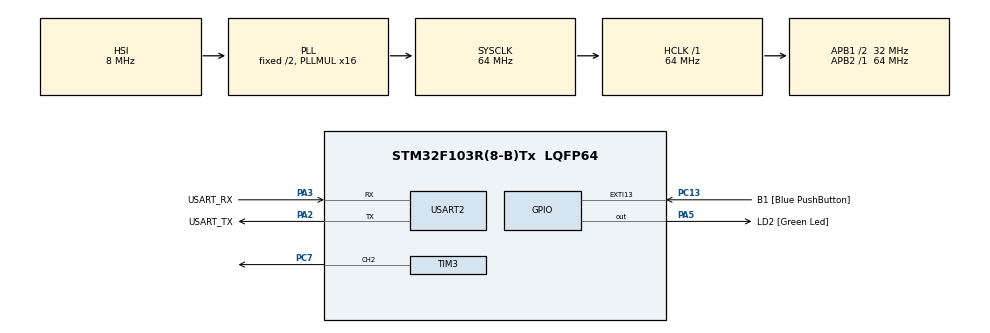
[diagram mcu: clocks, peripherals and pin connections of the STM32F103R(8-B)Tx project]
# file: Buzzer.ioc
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Mcu.Family=STM32F1
Mcu.Name=STM32F103R(8-B)Tx
Mcu.Package=LQFP64
NVIC.EXTI15_10_IRQn=true\:0\:0\:false\:false\:true\:true\:true\:true
NVIC.PriorityGroup=NVIC_PRIORITYGROUP_4
PA13.GPIO_Label=TMS
PA13.Mode=Serial_Wire
PA13.Signal=SYS_JTMS-SWDIO
PA14.GPIO_Label=TCK
PA14.Mode=Serial_Wire
PA14.Signal=SYS_JTCK-SWCLK
PA2.GPIO_Label=USART_TX
PA2.GPIO_Mode=GPIO_MODE_AF_PP
PA2.GPIO_PuPd=GPIO_NOPULL
PA2.GPIO_Speed=GPIO_SPEED_FREQ_LOW
PA2.Mode=Asynchronous
PA2.Signal=USART2_TX
PA3.GPIO_Label=USART_RX
PA3.GPIO_Mode=GPIO_MODE_AF_PP
PA3.GPIO_PuPd=GPIO_NOPULL
PA3.GPIO_Speed=GPIO_SPEED_FREQ_LOW
PA3.Mode=Asynchronous
PA3.Signal=USART2_RX
PA5.GPIO_Label=LD2 [Green Led]
PA5.GPIO_ModeDefaultOutputPP=GPIO_MODE_OUTPUT_PP
PA5.GPIO_PuPd=GPIO_NOPULL
PA5.GPIO_Speed=GPIO_SPEED_FREQ_LOW
PA5.Signal=GPIO_Output
PB3.GPIO_Label=SWO
PB3.Signal=SYS_JTDO-TRACESWO
PC13-TAMPER-RTC.GPIO_Label=B1 [Blue PushButton]
PC13-TAMPER-RTC.GPIO_PuPd=GPIO_NOPULL
PC13-TAMPER-RTC.Signal=GPXTI13
PC14-OSC32_IN.Signal=RCC_OSC32_IN
PC15-OSC32_OUT.Signal=RCC_OSC32_OUT
PC7.Signal=S_TIM3_CH2
PD0-OSC_IN.Signal=RCC_OSC_IN
PD1-OSC_OUT.Signal=RCC_OSC_OUT
ProjectManager.HeapSize=0x200
ProjectManager.StackSize=0x400
ProjectManager.TargetToolchain=STM32CubeIDE
RCC.AHBFreq_Value=64000000
RCC.APB1CLKDivider=RCC_HCLK_DIV2
RCC.APB1Freq_Value=32000000
RCC.APB1TimFreq_Value=64000000
RCC.APB2Freq_Value=64000000
RCC.APB2TimFreq_Value=64000000
RCC.HCLKFreq_Value=64000000
RCC.PLLMUL=RCC_PLL_MUL16
RCC.RTCClockSelection=RCC_RTCCLKSOURCE_LSE
RCC.SYSCLKFreq_VALUE=64000000
RCC.SYSCLKSource=RCC_SYSCLKSOURCE_PLLCLK
RCC.USBFreq_Value=64000000
SH.S_TIM3_CH2.0=TIM3_CH2,PWM Generation2 CH2
TIM3.Channel-PWM\ Generation2\ CH2=TIM_CHANNEL_2
TIM3.Prescaler=64-1
USART2.VirtualMode=VM_ASYNC
VP_TIM3_VS_ClockSourceINT.Mode=Internal
board=NUCLEO-F103RB

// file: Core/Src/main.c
/* USER CODE BEGIN Header */
/**
  ******************************************************************************
  * @file           : main.c
  * @brief          : Main program body
  ******************************************************************************
  * @attention
  *
  * Copyright (c) 2026 STMicroelectronics.
  * All rights reserved.
  *
  * This software is licensed under terms that can be found in the LICENSE file
  * in the root directory of this software component.
  * If no LICENSE file comes with this software, it is provided AS-IS.
  *
  ******************************************************************************
  */
/* USER CODE END Header */
#include "main.h"

TIM_HandleTypeDef htim3;

UART_HandleTypeDef huart2;

/* USER CODE BEGIN PV */
uint16_t note[8] = {262, 294, 330, 349, 392, 440, 494, 523};
char code[] = {'C','D','E','F','G','A','B','c'}; //char code[] = "CDEFGAB";' '
char school[] = "GGAAGGE GGEED GGAAGGE GEDEC";
/* USER CODE END PV */

void SystemClock_Config(void);
static void MX_GPIO_Init(void);
static void MX_TIM3_Init(void);
static void MX_USART2_UART_Init(void);
/* USER CODE BEGIN PFP */
unit8_t get_index(char ch);
/* USER CODE END PFP */

/* USER CODE BEGIN 0 */
 void Buzzer_Tone(uint16_t frequency, uint16_t duration)
{
    uint32_t period;

    if (frequency == 0)
    {
        HAL_TIM_PWM_Stop(&htim3, TIM_CHANNEL_2);
        HAL_Delay(duration);
        return;
    }

    /* TIM1 counter clock = 1 MHz */
    period = 1000000 / frequency;

    /* Set PWM frequency */
    __HAL_TIM_SET_AUTORELOAD(&htim3, period - 1);

    /* 50% duty cycle */
    __HAL_TIM_SET_COMPARE(&htim3, TIM_CHANNEL_2, period / 2);

    /* Reset counter */
    __HAL_TIM_SET_COUNTER(&htim3, 0);

    /* Start PWM */
    HAL_TIM_PWM_Start(&htim3, TIM_CHANNEL_2);

    HAL_Delay(duration);

    /* Stop sound */
    HAL_TIM_PWM_Stop(&htim3, TIM_CHANNEL_2);
}
/* USER CODE END 0 */

int main(void)
{

  /* MCU Configuration--------------------------------------------------------*/

  /* Reset of all peripherals, Initializes the Flash interface and the Systick. */
  HAL_Init();

  /* Configure the system clock */
  SystemClock_Config();

  /* Initialize all configured peripherals */
  MX_GPIO_Init();
  MX_TIM3_Init();
  MX_USART2_UART_Init();

  /* USER CODE BEGIN 2 */

  int i = 0;
  while(i < 8)
  {
	  Buzzer_Tone(note[i],500);HAL_Delay(100);
	  i = i +1;
  }
  /*
  Buzzer_Tone(note[0],500);HAL_Delay(100);
  Buzzer_Tone(note[1],500);HAL_Delay(100);
  Buzzer_Tone(note[2],500);HAL_Delay(100);
  Buzzer_Tone(note[3],500);HAL_Delay(100);
  Buzzer_Tone(note[4],500);HAL_Delay(100);
  Buzzer_Tone(note[5],500);HAL_Delay(100);
  Buzzer_Tone(note[6],500);HAL_Delay(100);
  Buzzer_Tone(note[7],500);HAL_Delay(100);
  */

  /*for (int i = 0; i < 8; i++)
  {
      Buzzer_Tone(note[i], 500);
      HAL_Delay(100);
  }*/
  for(int i = 0; i < sizeof(school); i++)
  {
	uint8_t temp = get_index(school[i]);
  Buzzer_Tone(note[i],500);
  }
    /* USER CODE END 2 */

  /* Infinite loop */
  while (1)
  {

  }
}

void SystemClock_Config(void)
{
  RCC_OscInitTypeDef RCC_OscInitStruct = {0};
  RCC_ClkInitTypeDef RCC_ClkInitStruct = {0};

  /** Initializes the RCC Oscillators according to the specified parameters
  * in the RCC_OscInitTypeDef structure.
  */
  RCC_OscInitStruct.OscillatorType = RCC_OSCILLATORTYPE_HSI;
  RCC_OscInitStruct.HSIState = RCC_HSI_ON;
  RCC_OscInitStruct.HSICalibrationValue = RCC_HSICALIBRATION_DEFAULT;
  RCC_OscInitStruct.PLL.PLLState = RCC_PLL_ON;
  RCC_OscInitStruct.PLL.PLLSource = RCC_PLLSOURCE_HSI_DIV2;
  RCC_OscInitStruct.PLL.PLLMUL = RCC_PLL_MUL16;
  if (HAL_RCC_OscConfig(&RCC_OscInitStruct) != HAL_OK)
  {
    Error_Handler();
  }

  /** Initializes the CPU, AHB and APB buses clocks
  */
  RCC_ClkInitStruct.ClockType = RCC_CLOCKTYPE_HCLK|RCC_CLOCKTYPE_SYSCLK
                              |RCC_CLOCKTYPE_PCLK1|RCC_CLOCKTYPE_PCLK2;
  RCC_ClkInitStruct.SYSCLKSource = RCC_SYSCLKSOURCE_PLLCLK;
  RCC_ClkInitStruct.AHBCLKDivider = RCC_SYSCLK_DIV1;
  RCC_ClkInitStruct.APB1CLKDivider = RCC_HCLK_DIV2;
  RCC_ClkInitStruct.APB2CLKDivider = RCC_HCLK_DIV1;

  if (HAL_RCC_ClockConfig(&RCC_ClkInitStruct, FLASH_LATENCY_2) != HAL_OK)
  {
    Error_Handler();
  }
}

static void MX_TIM3_Init(void)
{

  TIM_ClockConfigTypeDef sClockSourceConfig = {0};
  TIM_MasterConfigTypeDef sMasterConfig = {0};
  TIM_OC_InitTypeDef sConfigOC = {0};

  htim3.Instance = TIM3;
  htim3.Init.Prescaler = 64-1;
  htim3.Init.CounterMode = TIM_COUNTERMODE_UP;
  htim3.Init.Period = 65535;
  htim3.Init.ClockDivision = TIM_CLOCKDIVISION_DIV1;
  htim3.Init.AutoReloadPreload = TIM_AUTORELOAD_PRELOAD_DISABLE;
  if (HAL_TIM_Base_Init(&htim3) != HAL_OK)
  {
    Error_Handler();
  }
  sClockSourceConfig.ClockSource = TIM_CLOCKSOURCE_INTERNAL;
  if (HAL_TIM_ConfigClockSource(&htim3, &sClockSourceConfig) != HAL_OK)
  {
    Error_Handler();
  }
  if (HAL_TIM_PWM_Init(&htim3) != HAL_OK)
  {
    Error_Handler();
  }
  sMasterConfig.MasterOutputTrigger = TIM_TRGO_RESET;
  sMasterConfig.MasterSlaveMode = TIM_MASTERSLAVEMODE_DISABLE;
  if (HAL_TIMEx_MasterConfigSynchronization(&htim3, &sMasterConfig) != HAL_OK)
  {
    Error_Handler();
  }
  sConfigOC.OCMode = TIM_OCMODE_PWM1;
  sConfigOC.Pulse = 0;
  sConfigOC.OCPolarity = TIM_OCPOLARITY_HIGH;
  sConfigOC.OCFastMode = TIM_OCFAST_DISABLE;
  if (HAL_TIM_PWM_ConfigChannel(&htim3, &sConfigOC, TIM_CHANNEL_2) != HAL_OK)
  {
    Error_Handler();
  }
  HAL_TIM_MspPostInit(&htim3);

}

static void MX_USART2_UART_Init(void)
{

  huart2.Instance = USART2;
  huart2.Init.BaudRate = 115200;
  huart2.Init.WordLength = UART_WORDLENGTH_8B;
  huart2.Init.StopBits = UART_STOPBITS_1;
  huart2.Init.Parity = UART_PARITY_NONE;
  huart2.Init.Mode = UART_MODE_TX_RX;
  huart2.Init.HwFlowCtl = UART_HWCONTROL_NONE;
  huart2.Init.OverSampling = UART_OVERSAMPLING_16;
  if (HAL_UART_Init(&huart2) != HAL_OK)
  {
    Error_Handler();
  }

}

static void MX_GPIO_Init(void)
{
  GPIO_InitTypeDef GPIO_InitStruct = {0};

  /* GPIO Ports Clock Enable */
  __HAL_RCC_GPIOC_CLK_ENABLE();
  __HAL_RCC_GPIOD_CLK_ENABLE();
  __HAL_RCC_GPIOA_CLK_ENABLE();
  __HAL_RCC_GPIOB_CLK_ENABLE();

  /*Configure GPIO pin Output Level */
  HAL_GPIO_WritePin(LD2_GPIO_Port, LD2_Pin, GPIO_PIN_RESET);

  /*Configure GPIO pin : B1_Pin */
  GPIO_InitStruct.Pin = B1_Pin;
  GPIO_InitStruct.Mode = GPIO_MODE_IT_RISING;
  GPIO_InitStruct.Pull = GPIO_NOPULL;
  HAL_GPIO_Init(B1_GPIO_Port, &GPIO_InitStruct);

  /*Configure GPIO pin : LD2_Pin */
  GPIO_InitStruct.Pin = LD2_Pin;
  GPIO_InitStruct.Mode = GPIO_MODE_OUTPUT_PP;
  GPIO_InitStruct.Pull = GPIO_NOPULL;
  GPIO_InitStruct.Speed = GPIO_SPEED_FREQ_LOW;
  HAL_GPIO_Init(LD2_GPIO_Port, &GPIO_InitStruct);

  /* EXTI interrupt init*/
  HAL_NVIC_SetPriority(EXTI15_10_IRQn, 0, 0);
  HAL_NVIC_EnableIRQ(EXTI15_10_IRQn);

}

/* USER CODE BEGIN 4 */
 unit8_t get_index(char ch);
 {
	 unit8_t index;
	 for(int i =0; i < 8; i = i + 1)
	 {
		 if(school[i] == ch)
		 {
			 index = i;
		 }
		 else;
	 }
	 return index;
 }
/* USER CODE END 4 */

void Error_Handler(void)
{
  __disable_irq();
  while (1)
  {
  }
}
